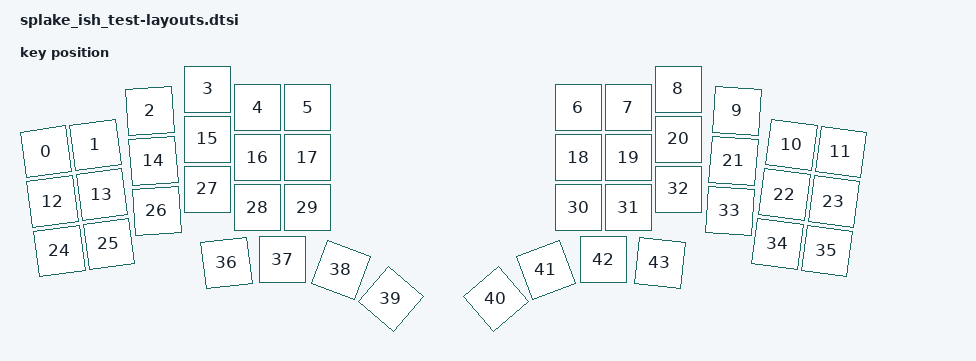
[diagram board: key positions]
#include <physical_layouts.dtsi>

/ {
    physical_layout_splake_ish_test: physical_layout_splake_ish_test {
        compatible = "zmk,physical-layout";
        display-name = "splake_ish-test";
        keys  //                     w   h    x    y     rot    rx    ry
            = <&key_physical_attrs 100 100    7  126  (-800)    56   176>
            , <&key_physical_attrs 100 100  106  112  (-800)   156   162>
            , <&key_physical_attrs 100 100  215   44  (-400)   265    94>
            , <&key_physical_attrs 100 100  331    0       0   331     0>
            , <&key_physical_attrs 100 100  431   37       0   431    37>
            , <&key_physical_attrs 100 100  531   37       0   531    37>
            , <&key_physical_attrs 100 100 1072   37       0  1072    37>
            , <&key_physical_attrs 100 100 1172   37       0  1172    37>
            , <&key_physical_attrs 100 100 1272    0       0  1272     0>
            , <&key_physical_attrs 100 100 1389   44     400  1439    94>
            , <&key_physical_attrs 100 100 1498  112     800  1548   162>
            , <&key_physical_attrs 100 100 1597  126     800  1647   176>
            , <&key_physical_attrs 100 100   20  225  (-800)    70   275>
            , <&key_physical_attrs 100 100  119  211  (-800)   169   261>
            , <&key_physical_attrs 100 100  222  144  (-400)   272   194>
            , <&key_physical_attrs 100 100  331  100       0   331   100>
            , <&key_physical_attrs 100 100  431  137       0   431   137>
            , <&key_physical_attrs 100 100  531  137       0   531   137>
            , <&key_physical_attrs 100 100 1072  137       0  1072   137>
            , <&key_physical_attrs 100 100 1172  137       0  1172   137>
            , <&key_physical_attrs 100 100 1272  100       0  1272   100>
            , <&key_physical_attrs 100 100 1382  144     400  1432   194>
            , <&key_physical_attrs 100 100 1484  211     800  1534   261>
            , <&key_physical_attrs 100 100 1583  225     800  1633   275>
            , <&key_physical_attrs 100 100   34  324  (-800)    84   374>
            , <&key_physical_attrs 100 100  133  310  (-800)   183   360>
            , <&key_physical_attrs 100 100  229  244  (-400)   279   294>
            , <&key_physical_attrs 100 100  331  200       0   331   200>
            , <&key_physical_attrs 100 100  431  237       0   431   237>
            , <&key_physical_attrs 100 100  531  237       0   531   237>
            , <&key_physical_attrs 100 100 1072  237       0  1072   237>
            , <&key_physical_attrs 100 100 1172  237       0  1172   237>
            , <&key_physical_attrs 100 100 1272  200       0  1272   200>
            , <&key_physical_attrs 100 100 1375  244     400  1425   294>
            , <&key_physical_attrs 100 100 1470  310     800  1520   360>
            , <&key_physical_attrs 100 100 1569  324     800  1619   374>
            , <&key_physical_attrs 100 100  368  348  (-700)   418   398>
            , <&key_physical_attrs 100 100  481  341       0   481   341>
            , <&key_physical_attrs 100 100  597  362    2000   647   412>
            , <&key_physical_attrs 100 100  697  420    4000   747   470>
            , <&key_physical_attrs 100 100  907  420 (-4000)   957   470>
            , <&key_physical_attrs 100 100 1007  362 (-2000)  1057   412>
            , <&key_physical_attrs 100 100 1122  341       0  1122   341>
            , <&key_physical_attrs 100 100 1235  348     700  1285   398>
            ;
    };
};
